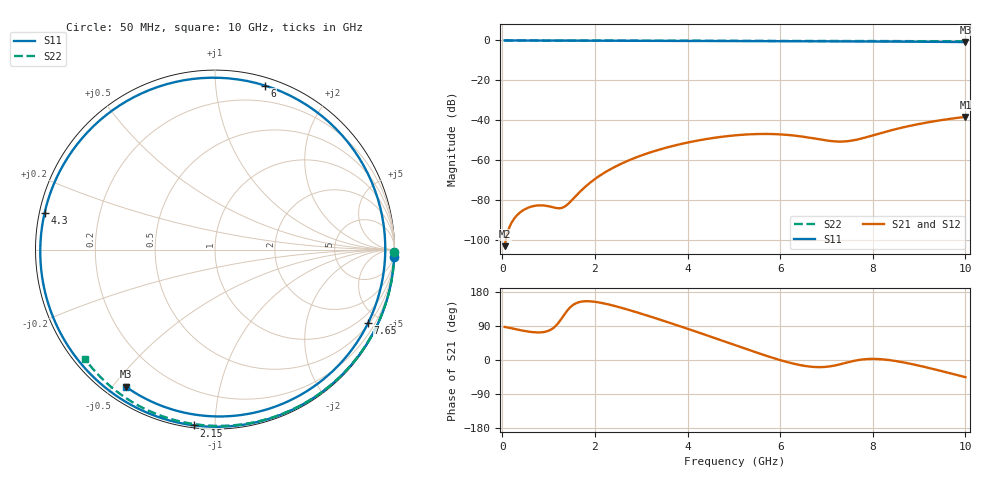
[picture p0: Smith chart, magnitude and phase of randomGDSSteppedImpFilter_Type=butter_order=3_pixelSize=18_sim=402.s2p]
! freq	dB(S11)	phase(S11)	dB(S12)	phase(S12)
!  dB(S21)	phase(S21)	dB(S22)	phase(S22)
!S-par simulation data
#  GHz  S  DB  R 50
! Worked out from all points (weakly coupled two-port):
!   200 points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, 50 MHz to 10 GHz, reference 50 ohm
!   highest |S21| = -38.19 dB at 10 GHz (marker M1); lowest = -102.8 dB at 50 MHz (marker M2)
!   lowest |S11| = -0.8 dB at 10 GHz (marker M3), VSWR 21.51, Z = 3.01 - j27.1 ohm
!   |S11| at or under -10 dB: nowhere
!   |S22| runs from -0.5 to 0.0 dB; largest |S21 - S12| = 0
!   S11 on the Smith chart (normalised r, x): 50 MHz: 1, -48; 2.15 GHz: 0.01, -0.89; 4.3 GHz: 0.01, +0.11; 6 GHz: 0.06, +1.35; 7.65 GHz: 0.56, -4.34; 10 GHz: 0.06, -0.54
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0.05  -0.01 -2.4  -102.85 87.3  -102.85 87.3  -0.00 -0.8
0.7  -0.04 -32.4  -82.68 73.1  -82.68 73.1  -0.01 -11.3
1.1  -0.06 -50.6  -83.43 84.2  -83.43 84.2  -0.02 -17.7
1.5  -0.09 -68.5  -79.92 142.7  -79.92 142.7  -0.03 -24.0
1.75  -0.10 -79.4  -74.04 154.7  -74.04 154.7  -0.04 -28.0
2.15  -0.12 -96.8  -66.92 150.5  -66.92 150.5  -0.04 -34.2
2.75  -0.15 -122.5  -59.77 131.5  -59.77 131.5  -0.06 -43.4
3.4  -0.19 -150.7  -54.51 106.7  -54.51 106.7  -0.07 -53.1
3.85  -0.22 -170.9  -51.81 88.6  -51.81 88.6  -0.08 -59.8
4.3  -0.25 167.8  -49.70 70.0  -49.70 70.0  -0.09 -66.2
4.65  -0.28 150.3  -48.43 55.3  -48.43 55.3  -0.10 -71.2
5.05  -0.32 129.0  -47.38 38.3  -47.38 38.3  -0.12 -76.8
5.55  -0.36 100.4  -46.76 17.3  -46.76 17.3  -0.14 -83.6
6  -0.40 73.0  -46.96 -0.2  -46.96 -0.2  -0.16 -89.7
6.35  -0.42 51.2  -47.68 -11.4  -47.68 -11.4  -0.17 -94.3
6.7  -0.43 29.3  -48.86 -18.1  -48.86 -18.1  -0.19 -98.9
7.15  -0.45 2.3  -50.40 -15.3  -50.40 -15.3  -0.22 -104.6
7.65  -0.48 -25.6  -49.62 -0.9  -49.62 -0.9  -0.25 -111.0
8  -0.51 -43.4  -47.47 3.0  -47.47 3.0  -0.28 -115.3
8.35  -0.54 -59.8  -45.20 -0.1  -45.20 -0.1  -0.31 -119.7
9.1  -0.64 -90.9  -41.32 -17.8  -41.32 -17.8  -0.38 -128.9
10  -0.81 -123.0  -38.19 -45.3  -38.19 -45.3  -0.48 -139.9
